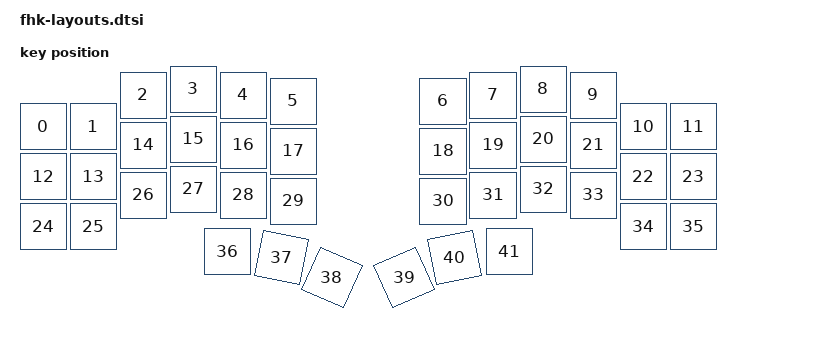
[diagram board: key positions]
/*
*
* Copyright (c) 2024 The ZMK Contributors
* SPDX-License-Identifier: MIT
*
*/

#include <physical_layouts.dtsi>

/ {
    physical_layout0: physical_layout_0 {
        compatible = "zmk,physical-layout";
        display-name = "6 Column";

        kscan = <&kscan0>;
        transform = <&matrix_transform0>;

        keys  //                     w   h    x    y     rot    rx    ry
            = <&key_physical_attrs 100 100    0   75       0     0     0>
            , <&key_physical_attrs 100 100  100   75       0     0     0>
            , <&key_physical_attrs 100 100  200   12       0     0     0>
            , <&key_physical_attrs 100 100  300    0       0     0     0>
            , <&key_physical_attrs 100 100  400   12       0     0     0>
            , <&key_physical_attrs 100 100  500   24       0     0     0>
            , <&key_physical_attrs 100 100  800   24       0     0     0>
            , <&key_physical_attrs 100 100  900   12       0     0     0>
            , <&key_physical_attrs 100 100 1000    0       0     0     0>
            , <&key_physical_attrs 100 100 1100   12       0     0     0>
            , <&key_physical_attrs 100 100 1200   75       0     0     0>
            , <&key_physical_attrs 100 100 1300   75       0     0     0>
            , <&key_physical_attrs 100 100    0  175       0     0     0>
            , <&key_physical_attrs 100 100  100  175       0     0     0>
            , <&key_physical_attrs 100 100  200  112       0     0     0>
            , <&key_physical_attrs 100 100  300  100       0     0     0>
            , <&key_physical_attrs 100 100  400  112       0     0     0>
            , <&key_physical_attrs 100 100  500  124       0     0     0>
            , <&key_physical_attrs 100 100  800  124       0     0     0>
            , <&key_physical_attrs 100 100  900  112       0     0     0>
            , <&key_physical_attrs 100 100 1000  100       0     0     0>
            , <&key_physical_attrs 100 100 1100  112       0     0     0>
            , <&key_physical_attrs 100 100 1200  175       0     0     0>
            , <&key_physical_attrs 100 100 1300  175       0     0     0>
            , <&key_physical_attrs 100 100    0  275       0     0     0>
            , <&key_physical_attrs 100 100  100  275       0     0     0>
            , <&key_physical_attrs 100 100  200  212       0     0     0>
            , <&key_physical_attrs 100 100  300  200       0     0     0>
            , <&key_physical_attrs 100 100  400  212       0     0     0>
            , <&key_physical_attrs 100 100  500  224       0     0     0>
            , <&key_physical_attrs 100 100  800  224       0     0     0>
            , <&key_physical_attrs 100 100  900  212       0     0     0>
            , <&key_physical_attrs 100 100 1000  200       0     0     0>
            , <&key_physical_attrs 100 100 1100  212       0     0     0>
            , <&key_physical_attrs 100 100 1200  275       0     0     0>
            , <&key_physical_attrs 100 100 1300  275       0     0     0>
            , <&key_physical_attrs 100 100  369  325       0     0     0>
            , <&key_physical_attrs 100 100  470  322    1200   450   412>
            , <&key_physical_attrs 100 100  568  345    2400   548   433>
            , <&key_physical_attrs 100 100  732  345 (-2400)   852   433>
            , <&key_physical_attrs 100 100  830  322 (-1200)   950   412>
            , <&key_physical_attrs 100 100  932  325       0     0     0>
            ;
    };
};
